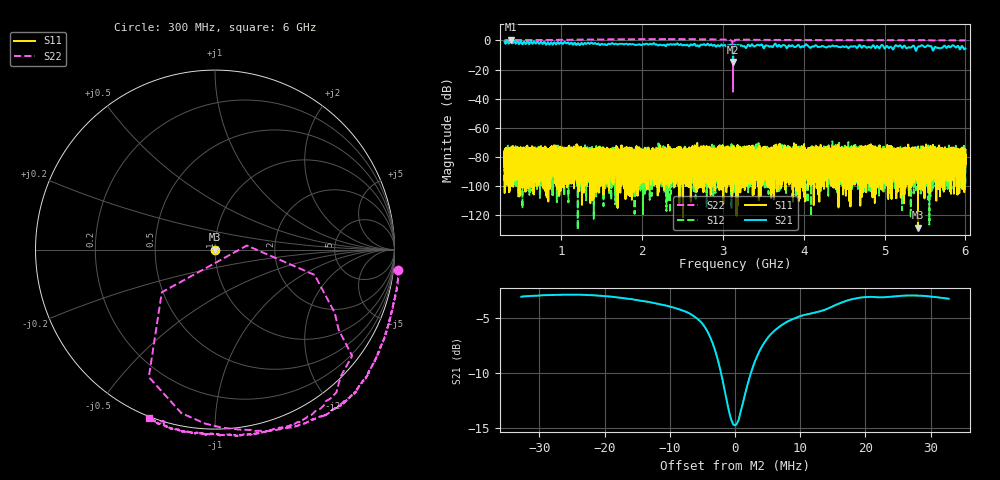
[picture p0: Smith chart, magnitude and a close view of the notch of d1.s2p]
!Agilent Technologies,N5230C,SG49000117,A.08.50.07
!Agilent N5230C: A.08.50.07
!Date: Sunday, March 17, 2024 09:20:56
!Correction: S11(Off)
!S21(Off)
!S12(Off)
!S22(Full 1 Port(2))
!S2P File: Measurements: S11, S21, S12, S22:
# Hz S  RI  R 50
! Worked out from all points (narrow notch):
!   20001 points, 300 MHz to 6 GHz, reference 50 ohm
!   highest |S21| = 0.47 dB at 373.8 MHz (marker M1); lowest = -14.7 dB at 3.124 GHz (marker M2)
!   notch at M2: 11.4 dB deep, 5.5 MHz wide at half that depth
!   lowest |S11| = -129.1 dB at 5.413 GHz (marker M3), VSWR 1.00, Z = 50 - j3.25e-05 ohm
!   |S11| at or under -10 dB: start of sweep to end of sweep
!   |S22| runs from -35.2 to 1.0 dB; largest |S21 - S12| = 1.1
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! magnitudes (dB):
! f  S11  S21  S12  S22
! 300 MHz  -92.8  -0.9  -81.9  0.2
! 373.8 MHz  -85.8  0.5  -80.7  0.3
! 1.25 GHz  -89.1  -1.7  -83.4  0.6
! 2.2 GHz  -81.4  -3.4  -86.4  0.9
! 3.054 GHz  -78.4  -3.6  -80.7  0.5
! 3.091 GHz  -90.1  -3.0  -100.6  0.3
! 3.103 GHz  -83.2  -2.9  -82.2  0.1
! 3.124 GHz  -79.4  -14.7  -80.4  -13.5
! 3.15 GHz  -93.5  -2.9  -81.0  0.2
! 3.161 GHz  -79.0  -3.5  -104.7  0.4
! 3.19 GHz  -77.0  -3.0  -81.9  0.5
! 3.978 GHz  -90.9  -4.0  -79.7  0.3
! 4.036 GHz  -81.4  -2.9  -82.9  0.3
! 4.1 GHz  -86.8  -4.3  -89.5  0.3
! 5.05 GHz  -78.6  -5.1  -84.2  0.2
! 5.413 GHz  -129.1  -4.3  -103.0  0.2
! 5.454 GHz  -87.8  -3.4  -79.4  0.2
! 5.552 GHz  -87.4  -3.9  -79.0  0.1
! 5.614 GHz  -77.4  -5.3  -82.5  0.0
! 5.847 GHz  -88.2  -3.3  -76.5  0.1
! 5.964 GHz  -84.1  -4.1  -77.9  0.1
! 6 GHz  -85.3  -5.5  -76.7  0.1
